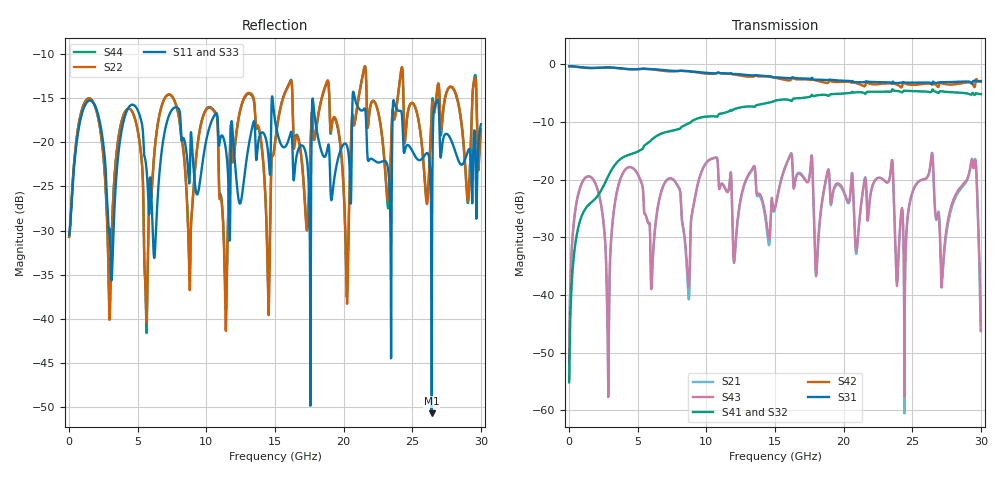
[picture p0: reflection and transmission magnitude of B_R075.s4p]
!MTL model of B_R075, calibrated on full-wave A (medium)
# Hz S RI R 50.0
!freq ReS11 ImS11 ReS12 ImS12 ReS13 ImS13
! ReS14 ImS14
! ReS21 ImS21 ReS22 ImS22 ReS23 ImS23
! ReS24 ImS24
! ReS31 ImS31 ReS32 ImS32 ReS33 ImS33
! ReS34 ImS34
! ReS41 ImS41 ReS42 ImS42 ReS43 ImS43
! ReS44 ImS44
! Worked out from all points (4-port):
!   3000 points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, 10 MHz to 30 GHz, reference 50 ohm
!   strongest paths, dB at 10 MHz, 7.51 GHz, 15.01 GHz, 22.51 GHz, 30 GHz:
!     S31: -0.4, -1.2, -2.3, -3.1, -2.9
!     S42: -0.4, -1.2, -2.4, -3.5, -3.1
!     S41: -55.1, -11.5, -6.3, -4.8, -5.2
!     S32: -55.1, -11.5, -6.3, -4.8, -5.2
!     S43: -54.5, -19.8, -24.9, -19.7, -46.2
!     S21: -54.5, -19.9, -25.0, -19.7, -46.1
!   lowest |S11| = -50.7 dB at 26.42 GHz (marker M1), VSWR 1.01, Z = 49.7 - j0.101 ohm
!   |S11| at or under -10 dB: start of sweep to end of sweep
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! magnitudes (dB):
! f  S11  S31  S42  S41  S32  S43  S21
! 10 MHz  -30.5  -0.4  -0.4  -55.1  -55.1  -54.5  -54.5
! 810 MHz  -17.6  -0.5  -0.6  -27.1  -27.1  -21.4  -21.4
! 2.85 GHz  -28.7  -0.6  -0.6  -19.5  -19.5  -55.0  -54.0
! 3.79 GHz  -19.1  -0.7  -0.8  -16.4  -16.4  -19.6  -19.6
! 26.42 GHz  -50.7  -3.5  -3.5  -4.7  -4.7  -15.6  -15.6
! 29.51 GHz  -18.7  -2.9  -4.0  -5.3  -5.3  -17.6  -17.3
! 30 GHz  -18.0  -2.9  -3.1  -5.2  -5.2  -46.2  -46.1
